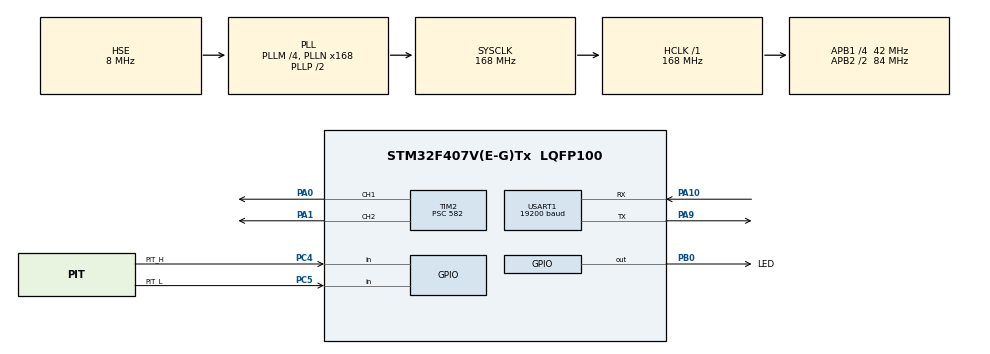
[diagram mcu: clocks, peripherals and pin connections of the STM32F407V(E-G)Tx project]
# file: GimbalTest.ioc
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Mcu.Family=STM32F4
Mcu.Name=STM32F407V(E-G)Tx
Mcu.Package=LQFP100
NVIC.PriorityGroup=NVIC_PRIORITYGROUP_4
NVIC.TIM1_TRG_COM_TIM11_IRQn=true\:0\:0\:false\:false\:true\:true\:true\:true
NVIC.USART1_IRQn=true\:0\:0\:false\:false\:true\:true\:true\:true
PA0-WKUP.Signal=S_TIM2_CH1_ETR
PA1.Signal=S_TIM2_CH2
PA10.Mode=Asynchronous
PA10.Signal=USART1_RX
PA13.Mode=Serial_Wire
PA13.Signal=SYS_JTMS-SWDIO
PA14.Mode=Serial_Wire
PA14.Signal=SYS_JTCK-SWCLK
PA9.Mode=Asynchronous
PA9.Signal=USART1_TX
PB0.GPIO_Label=LED
PB0.GPIO_PuPd=GPIO_PULLUP
PB0.GPIO_Speed=GPIO_SPEED_FREQ_HIGH
PB0.PinState=GPIO_PIN_SET
PB0.Signal=GPIO_Output
PC14-OSC32_IN.Mode=LSE-External-Oscillator
PC14-OSC32_IN.Signal=RCC_OSC32_IN
PC15-OSC32_OUT.Mode=LSE-External-Oscillator
PC15-OSC32_OUT.Signal=RCC_OSC32_OUT
PC4.GPIO_Label=PIT_H
PC4.Signal=GPIO_Input
PC5.GPIO_Label=PIT_L
PC5.Signal=GPIO_Input
PH0-OSC_IN.Mode=HSE-External-Oscillator
PH0-OSC_IN.Signal=RCC_OSC_IN
PH1-OSC_OUT.Mode=HSE-External-Oscillator
PH1-OSC_OUT.Signal=RCC_OSC_OUT
ProjectManager.HeapSize=0x200
ProjectManager.StackSize=0x400
ProjectManager.TargetToolchain=STM32CubeIDE
RCC.48MHZClocksFreq_Value=84000000
RCC.AHBFreq_Value=168000000
RCC.APB1CLKDivider=RCC_HCLK_DIV4
RCC.APB1Freq_Value=42000000
RCC.APB1TimFreq_Value=84000000
RCC.APB2CLKDivider=RCC_HCLK_DIV2
RCC.APB2Freq_Value=84000000
RCC.APB2TimFreq_Value=168000000
RCC.CortexFreq_Value=168000000
RCC.HCLKFreq_Value=168000000
RCC.HSE_VALUE=8000000
RCC.HSI_VALUE=16000000
RCC.PLLM=4
RCC.PLLN=168
RCC.PLLSourceVirtual=RCC_PLLSOURCE_HSE
RCC.SYSCLKFreq_VALUE=168000000
RCC.SYSCLKSource=RCC_SYSCLKSOURCE_PLLCLK
RCC.VCOOutputFreq_Value=336000000
SH.S_TIM2_CH1_ETR.0=TIM2_CH1,PWM Generation1 CH1
SH.S_TIM2_CH2.0=TIM2_CH2,PWM Generation2 CH2
TIM11.Period=499
TIM11.Prescaler=167
TIM2.Channel-PWM\ Generation1\ CH1=TIM_CHANNEL_1
TIM2.Channel-PWM\ Generation2\ CH2=TIM_CHANNEL_2
TIM2.Period=2879
TIM2.Prescaler=582
USART1.BaudRate=19200
USART1.VirtualMode=VM_ASYNC
VP_TIM11_VS_ClockSourceINT.Mode=Enable_Timer
board=custom

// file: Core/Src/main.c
/* USER CODE BEGIN Header */
/**
  ******************************************************************************
  * @file           : main.c
  * @brief          : Main program body
  ******************************************************************************
  * @attention
  *
  * Copyright (c) 2023 STMicroelectronics.
  * All rights reserved.
  *
  * This software is licensed under terms that can be found in the LICENSE file
  * in the root directory of this software component.
  * If no LICENSE file comes with this software, it is provided AS-IS.
  *
  ******************************************************************************
  */
/* USER CODE END Header */
#include "main.h"
#include "tim.h"
#include "usart.h"
#include "gpio.h"

/* USER CODE BEGIN Includes */
#include "Gimbal.h"
#include "CameraData.h"
/* USER CODE END Includes */

void SystemClock_Config(void);
/* USER CODE BEGIN PFP */
uint16_t counter = 0;
extern Camera_t camera;
void HAL_TIM_PeriodElapsedCallback(TIM_HandleTypeDef *htim)
{
  GimbalUpdate();
  if(counter == 30){
//    CameraPID();
    counter = 0;
  }
  counter++;
}
/* USER CODE END PFP */

/* USER CODE BEGIN 0 */
#define PWM_MAX_NUM 4199
#define PWM_MIN_NUM 840
#define PWM_MID_NUM 2520

void SetMotorSpeed(unsigned short speed,unsigned int channel){
  if(speed>PWM_MAX_NUM){
    speed = PWM_MAX_NUM;
  }else if(speed<PWM_MIN_NUM){
    speed = PWM_MIN_NUM;
  }
}
/* USER CODE END 0 */

int main(void)
{

  /* MCU Configuration--------------------------------------------------------*/

  /* Reset of all peripherals, Initializes the Flash interface and the Systick. */
  HAL_Init();

  /* Configure the system clock */
  SystemClock_Config();

  /* Initialize all configured peripherals */
  MX_GPIO_Init();
  MX_TIM2_Init();
  MX_TIM11_Init();
  MX_USART1_UART_Init();

  /* Infinite loop */
  /* USER CODE BEGIN WHILE */
  HAL_TIM_Base_Start_IT(&htim11);
  GimbalInit(90.0f,60.0f);
  HAL_Delay(100);
  CameraInit();
  while (1)
  {
    /* USER CODE END WHILE */

    /* USER CODE BEGIN 3 */

//    HAL_Delay(1000);
  }
  /* USER CODE END 3 */
}

void SystemClock_Config(void)
{
  RCC_OscInitTypeDef RCC_OscInitStruct = {0};
  RCC_ClkInitTypeDef RCC_ClkInitStruct = {0};

  /** Configure the main internal regulator output voltage
  */
  __HAL_RCC_PWR_CLK_ENABLE();
  __HAL_PWR_VOLTAGESCALING_CONFIG(PWR_REGULATOR_VOLTAGE_SCALE1);

  /** Initializes the RCC Oscillators according to the specified parameters
  * in the RCC_OscInitTypeDef structure.
  */
  RCC_OscInitStruct.OscillatorType = RCC_OSCILLATORTYPE_HSE;
  RCC_OscInitStruct.HSEState = RCC_HSE_ON;
  RCC_OscInitStruct.PLL.PLLState = RCC_PLL_ON;
  RCC_OscInitStruct.PLL.PLLSource = RCC_PLLSOURCE_HSE;
  RCC_OscInitStruct.PLL.PLLM = 4;
  RCC_OscInitStruct.PLL.PLLN = 168;
  RCC_OscInitStruct.PLL.PLLP = RCC_PLLP_DIV2;
  RCC_OscInitStruct.PLL.PLLQ = 4;
  if (HAL_RCC_OscConfig(&RCC_OscInitStruct) != HAL_OK)
  {
    Error_Handler();
  }

  /** Initializes the CPU, AHB and APB buses clocks
  */
  RCC_ClkInitStruct.ClockType = RCC_CLOCKTYPE_HCLK|RCC_CLOCKTYPE_SYSCLK
                              |RCC_CLOCKTYPE_PCLK1|RCC_CLOCKTYPE_PCLK2;
  RCC_ClkInitStruct.SYSCLKSource = RCC_SYSCLKSOURCE_PLLCLK;
  RCC_ClkInitStruct.AHBCLKDivider = RCC_SYSCLK_DIV1;
  RCC_ClkInitStruct.APB1CLKDivider = RCC_HCLK_DIV4;
  RCC_ClkInitStruct.APB2CLKDivider = RCC_HCLK_DIV2;

  if (HAL_RCC_ClockConfig(&RCC_ClkInitStruct, FLASH_LATENCY_5) != HAL_OK)
  {
    Error_Handler();
  }
}

void Error_Handler(void)
{
  __disable_irq();
  while (1)
  {
  }
}
